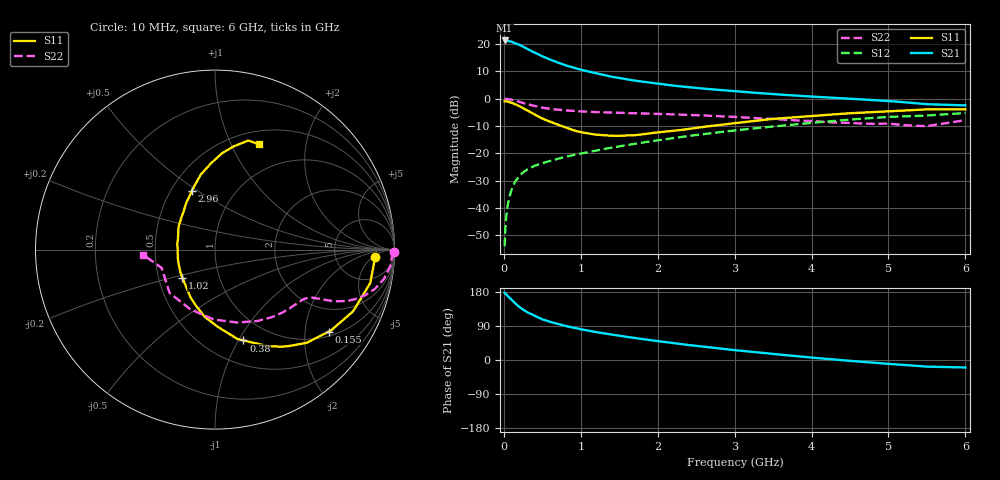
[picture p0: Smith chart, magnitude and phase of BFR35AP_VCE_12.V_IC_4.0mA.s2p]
! Infineon Technologies  Discrete & RF Semiconductors
! BFR35AP
! VCE =  12. V,  IC =  4.0 mA
! Common Emitter S-Parameters:  Nov 2015
# GHz  S  MA  R  50
!  f  S11  S21  S12  S22
! GHz  MAG  ANG  MAG  ANG  MAG  ANG  MAG  ANG
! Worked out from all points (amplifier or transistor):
!   210 points, 10 MHz to 6 GHz, reference 50 ohm
!   highest |S21| = 21.3 dB at 10 MHz (marker M1)
!   |S21| within 3 dB of that: start of sweep to 296.1 MHz
!   unconditionally stable (mu >= 1): 947.2 MHz to 2.938 GHz
!   at 185 MHz: K = 0.32, MSG = 24.4 dB, |S12| = -28.9 dB
!   at 1.52 GHz: K = 1.10, MAG = 10.4 dB, |S12| = -17.4 dB
!   at 6 GHz: K = 0.88, MSG = 1.4 dB, |S12| = -5.3 dB
!   S11 on the Smith chart (normalised r, x): 10 MHz: 15, -6; 155 MHz: 1.14, -2.66; 380 MHz: 0.75, -1.05; 1.02 GHz: 0.66, -0.22; 2.96 GHz: 0.63, +0.47; 6 GHz: 0.65, +1.28
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0.01  0.8922 -2.5  11.57 177.5  0.002 82.4  0.9948 -0.9
0.02  0.8892 -4.9  11.28 175.2  0.0043 84.3  0.9876 -2.0
0.04  0.8848 -9.7  11.3 171.1  0.0088 82.6  0.9842 -4.1
0.05  0.8849 -12.1  11.33 169.0  0.0111 82.3  0.983 -5.1
0.1  0.8428 -24.1  11.03 158.9  0.0215 77.5  0.9549 -9.9
0.155  0.781 -35.8  10.19 148.0  0.0314 70.3  0.9132 -14.1
0.2  0.7288 -45.4  9.684 140.3  0.0382 67.2  0.8736 -17.0
0.24  0.6793 -52.2  9.064 134.3  0.0434 64.2  0.8386 -18.9
0.3  0.6125 -61.4  8.134 126.5  0.0501 61.2  0.793 -21.1
0.38  0.5304 -72.6  7.159 118.7  0.0572 58.7  0.7442 -22.8
0.5  0.4318 -87.7  5.927 107.3  0.0658 56.8  0.682 -24.4
0.6  0.3799 -98.5  5.171 100.8  0.0724 56.3  0.6494 -25.0
0.7  0.335 -107.7  4.574 95.1  0.0795 56.1  0.6275 -25.7
0.8  0.2988 -117.2  4.071 89.9  0.0859 56.4  0.6089 -26.1
1.02  0.2407 -138.8  3.333 80.3  0.1 57.3  0.5811 -27.6
1.4  0.2092 -173.2  2.515 67.1  0.1265 58.4  0.5554 -31.4
2.02  0.2419 146.0  1.857 49.3  0.1746 57.6  0.5239 -39.7
2.96  0.3498 111.9  1.379 27.0  0.2576 52.3  0.4659 -58.0
3.1  0.3685 108.6  1.33 24.1  0.2706 50.9  0.454 -61.6
4.1  0.4927 91.1  1.069 4.6  0.3699 40.9  0.3796 -95.1
5.1  0.5942 78.3  0.883 -11.6  0.4677 27.2  0.3378 -140.8
6  0.636 67.4  0.751 -19.7  0.5452 16.0  0.4034 -176.1
